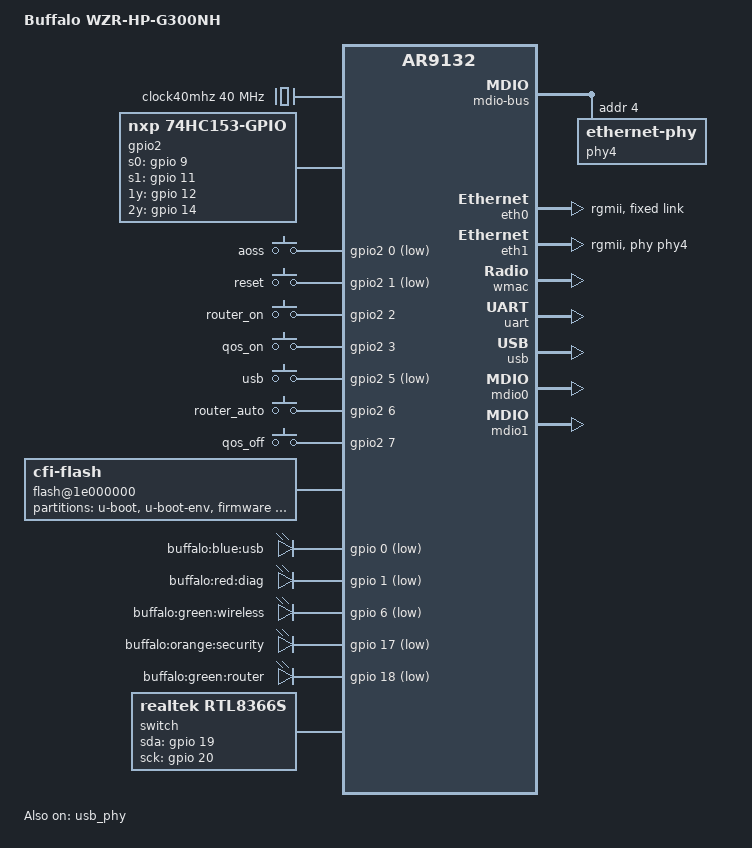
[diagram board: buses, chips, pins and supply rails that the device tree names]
// SPDX-License-Identifier: GPL-2.0-or-later OR MIT
/dts-v1/;

#include <dt-bindings/gpio/gpio.h>
#include <dt-bindings/input/input.h>

#include "ar9132.dtsi"

/ {
	compatible = "buffalo,wzr-hp-g300nh", "qca,ar9132";
	model = "Buffalo WZR-HP-G300NH";

	aliases {
		led-boot = &security;
		led-failsafe = &diag;
		led-upgrade = &diag;
	};

	clock40mhz: ref {
		compatible = "fixed-clock";
		#clock-cells = <0>;
		clock-frequency = <40000000>;
	};

	gpio2: gpio-extender {
		compatible = "nxp,74hc153-gpio";
		gpio-controller;
		ngpios = <8>;
		#gpio-cells = <2>;

		// GPIOs used by this node
		gpio-s0 = <&gpio 9 GPIO_ACTIVE_HIGH>;
		gpio-s1 = <&gpio 11 GPIO_ACTIVE_HIGH>;
		gpio-1y = <&gpio 12 GPIO_ACTIVE_HIGH>;
		gpio-2y = <&gpio 14 GPIO_ACTIVE_HIGH>;
	};

	keys {
		compatible = "gpio-keys-polled";

		poll-interval = <20>;

		aoss {
			label = "aoss";
			linux,code = <KEY_WPS_BUTTON>;
			gpios = <&gpio2 0 GPIO_ACTIVE_LOW>;
			debounce-interval = <60>;
		};

		reset {
			label = "reset";
			linux,code = <KEY_RESTART>;
			gpios = <&gpio2 1 GPIO_ACTIVE_LOW>;
			debounce-interval = <60>;
		};

		router_on {
			label = "router_on";
			linux,code = <BTN_5>;
			gpios = <&gpio2 2 GPIO_ACTIVE_HIGH>;
			debounce-interval = <60>;
		};

		qos_on {
			label = "qos_on";
			linux,code = <BTN_3>;
			gpios = <&gpio2 3 GPIO_ACTIVE_HIGH>;
			debounce-interval = <60>;
		};

		usb {
			label = "usb";
			linux,code = <BTN_2>;
			gpios = <&gpio2 5 GPIO_ACTIVE_LOW>;
			debounce-interval = <60>;
		};

		router_auto {
			label = "router_auto";
			linux,code = <BTN_6>;
			gpios = <&gpio2 6 GPIO_ACTIVE_HIGH>;
			debounce-interval = <60>;
		};

		qos_off {
			label = "qos_off";
			linux,code = <BTN_4>;
			gpios = <&gpio2 7 GPIO_ACTIVE_HIGH>;
			debounce-interval = <60>;
		};
	};

	flash@1e000000 {
		compatible = "cfi-flash";
		reg = <0x1e000000 0x2000000>;
		bank-width = <2>;
		device-width = <2>;

		partitions {
			compatible = "fixed-partitions";
			#address-cells = <1>;
			#size-cells = <1>;

			partition@0 {
				label = "u-boot";
				reg = <0x0000000 0x0040000>;
				read-only;
			};

			partition@40000 {
				label = "u-boot-env";
				reg = <0x0040000 0x0020000>;
				read-only;
			};

			partition@60000 {
				compatible = "denx,uimage";
				label = "firmware";
				reg = <0x0060000 0x1f60000>;
			};

			partition@1fc0000 {
				label = "user_property";
				reg = <0x1fc0000 0x0020000>;
				read-only;
			};

			art: partition@1fe0000 {
				label = "art";
				reg = <0x1fe0000 0x020000>;
				read-only;
			};
		};
	};

	leds {
		compatible = "gpio-leds";

		usb {
			label = "buffalo:blue:usb";
			gpios = <&gpio 0 GPIO_ACTIVE_LOW>;
			trigger-sources = <&hub_port>;
			linux,default-trigger = "usbport";
		};

		diag: diag {
			label = "buffalo:red:diag";
			gpios = <&gpio 1 GPIO_ACTIVE_LOW>;
		};

		wireless {
			label = "buffalo:green:wireless";
			gpios = <&gpio 6 GPIO_ACTIVE_LOW>;
			linux,default-trigger = "phy0tpt";
		};

		security: security {
			label = "buffalo:orange:security";
			gpios = <&gpio 17 GPIO_ACTIVE_LOW>;
		};

		router {
			label = "buffalo:green:router";
			gpios = <&gpio 18 GPIO_ACTIVE_LOW>;
		};
	};

	switch {
		compatible = "realtek,rtl8366s";
		gpio-sda = <&gpio 19 GPIO_ACTIVE_HIGH>;
		gpio-sck = <&gpio 20 GPIO_ACTIVE_HIGH>;

		mii-bus = <&mdio0>;

		mdio-bus {
			#address-cells = <1>;
			#size-cells = <0>;
			status = "okay";

			phy-mask = <0x10>;

			phy4: ethernet-phy@4 {
				reg = <4>;
				phy-mode = "rgmii";
			};
		};
	};
};

&eth0 {
	pll-data = <0x1e000100 0x13000a44 0x00441099>;
	status = "okay";

	phy-mode = "rgmii";
	mtd-mac-address = <&art 0x1120c>;

	fixed-link {
		speed = <1000>;
		full-duplex;
	};
};

&eth1 {
	compatible = "qca,ar9130-eth", "syscon";
	reg = <0x1a000000 0x200 0x18070004 0x4>;
	pll-reg = <0x4 0x18 22>;
	pll-handle = <&pll>;
	pll-data = <0x1e000100 0x13000a44 0x00441099>;

	resets = <&rst 13>;
	reset-names = "mac";

	qca,mac-idx = <1>;

	phy-mode = "rgmii";
	phy-handle = <&phy4>;

	mtd-mac-address = <&art 0x1120c>;
	mtd-mac-address-increment = <1>;

	status = "okay";
};

&wmac {
	status = "okay";
	mtd-cal-data = <&art 0x11000>;
	mtd-mac-address = <&art 0x1120c>;
};

&uart {
	status = "okay";
};

&pll {
	clocks = <&clock40mhz>;
};

&usb {
	#address-cells = <1>;
	#size-cells = <0>;
	status = "okay";

	hub_port: port@1 {
		reg = <1>;
		#trigger-source-cells = <0>;
	};
};

&usb_phy {
	status = "okay";
};

&mdio0 {
	status = "okay";
};

&mdio1 {
	status = "okay";
};

